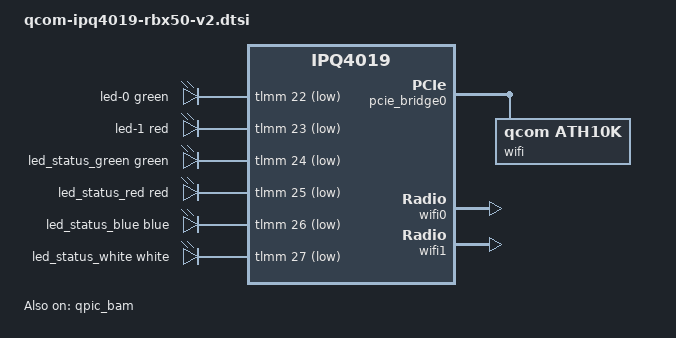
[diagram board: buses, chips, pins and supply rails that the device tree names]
// SPDX-License-Identifier: GPL-2.0-or-later OR MIT

#include "qcom-ipq4019-orbi.dtsi"

/ {
	chosen {
		bootargs = "ubi.mtd=ubi root=/dev/ubiblock0_0";
	};

	leds {
		compatible = "gpio-leds";

		led-0 {
			function = LED_FUNCTION_POWER;
			color = <LED_COLOR_ID_GREEN>;
			gpios = <&tlmm 22 GPIO_ACTIVE_LOW>;
			default-state = "on";
		};

		led-1 {
			function = LED_FUNCTION_POWER;
			color = <LED_COLOR_ID_RED>;
			gpios = <&tlmm 23 GPIO_ACTIVE_LOW>;
			panic-indicator;
		};

		led_status_green: led-2 {
			function = LED_FUNCTION_STATUS;
			color = <LED_COLOR_ID_GREEN>;
			gpios = <&tlmm 24 GPIO_ACTIVE_LOW>;
		};

		led_status_red: led-3 {
			function = LED_FUNCTION_STATUS;
			color = <LED_COLOR_ID_RED>;
			gpios = <&tlmm 25 GPIO_ACTIVE_LOW>;
		};

		led_status_blue: led-4 {
			function = LED_FUNCTION_STATUS;
			color = <LED_COLOR_ID_BLUE>;
			gpios = <&tlmm 26 GPIO_ACTIVE_LOW>;
		};

		led_status_white: led-5 {
			function = LED_FUNCTION_STATUS;
			color = <LED_COLOR_ID_WHITE>;
			gpios = <&tlmm 27 GPIO_ACTIVE_LOW>;
		};
	};
};

&sdhci {
	status = "disabled";
};

&qpic_bam {
	status = "okay";
};

&i2c_0_pins {
	pinmux {
		function = "blsp_i2c0";
		pins = "gpio20", "gpio21";
		bias-disable;
	};
};

&tlmm {
	nand_pins: nand-pins {
		pullups {
			pins = "gpio52", "gpio53", "gpio58", "gpio59";
			function = "qpic";
			bias-pull-up;
		};

		pulldowns {
			pins = "gpio54", "gpio55", "gpio56",
				"gpio57", "gpio60", "gpio61",
				"gpio62", "gpio63", "gpio64",
				"gpio65", "gpio66", "gpio67",
				"gpio68", "gpio69";
			function = "qpic";
			bias-pull-down;
		};
	};
};

&gmac {
	nvmem-cell-names = "mac-address";
	nvmem-cells = <&mac_address_lan 0>;
};

&pcie_bridge0 {
	wifi@0,0 {
		compatible = "qcom,ath10k";
		reg = <0x00010000 0 0 0 0>;
		ieee80211-freq-limit = <5470000 5875000>;
		nvmem-cell-names = "pre-calibration", "mac-address";
		nvmem-cells = <&precal_art_9000>, <&mac_address_wlan_2nd5g 0>;
		qcom,ath10k-calibration-variant = "Netgear-Orbi-Pro-SRK60";
	};
};

&wifi0 {
	status = "okay";
	nvmem-cell-names = "pre-calibration", "mac-address";
	nvmem-cells = <&precal_art_1000>, <&mac_address_lan 0>;
	qcom,ath10k-calibration-variant = "Netgear-Orbi-Pro-SRK60";
};

&wifi1 {
	status = "okay";
	nvmem-cell-names = "pre-calibration", "mac-address";
	nvmem-cells = <&precal_art_5000>, <&mac_address_wlan_5g 0>;
	qcom,ath10k-calibration-variant = "Netgear-Orbi-Pro-SRK60";
};
